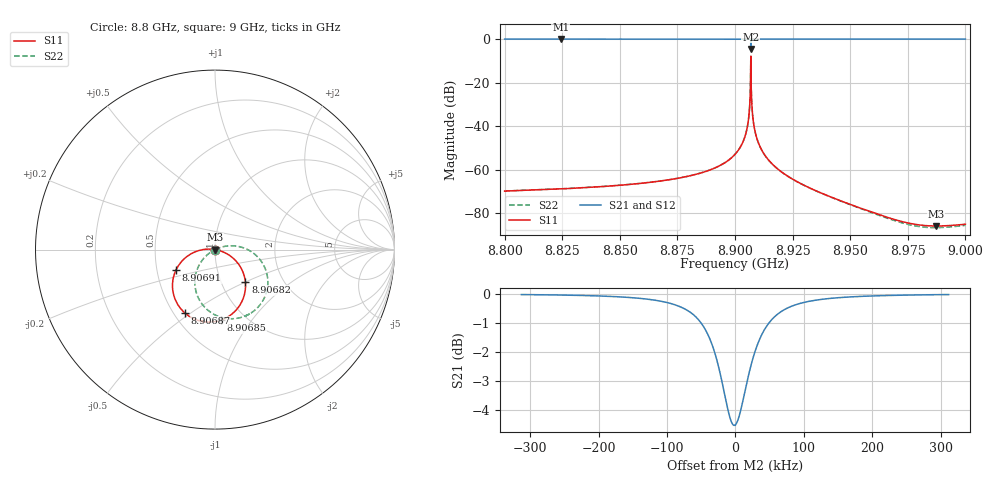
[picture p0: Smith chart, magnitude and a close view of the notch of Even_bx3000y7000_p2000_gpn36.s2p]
! Sonnet Data File
! From: emgraph Version : 16.52
! From Project: Resonator2_cp_cp
! Data is De-embedded
! Data File Written: 10/06/2017 09:20:31
!< HDATE 10/05/2017 21:11:40
!< MDATE 10/05/2017 21:11:40
!< PARAMS
!< gap = 36.0
!< Length = 400.0
!< Pwid1 = 2000.0
!< Pwid2 = 2000.0
!< END PARAMS
# GHZ S MA R 51.80000
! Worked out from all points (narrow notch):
!   1596 points, 8.8 GHz to 9 GHz, reference 51.8 ohm
!   highest |S21| = 0.00 dB at 8.8244 GHz (marker M1); lowest = -4.5 dB at 8.90686 GHz (marker M2)
!   notch at M2: 4.5 dB deep, 52.5 kHz wide at half that depth
!   lowest |S11| = -85.9 dB at 8.9872 GHz (marker M3), VSWR 1.00, Z = 51.8 + j0.00514 ohm
!   |S11| at or under -10 dB: start of sweep to 8.90683 GHz; 8.90689 GHz to end of sweep
!   |S22| runs from -86.7 to -7.8 dB; largest |S21 - S12| = 0
!   S11 on the Smith chart (normalised r, x): 8.8 GHz: 1.00, +0.00; 8.90682 GHz: 1.30, -0.50; 8.90685 GHz: 0.78, -0.72; 8.90687 GHz: 0.57, -0.47; 8.90691 GHz: 0.63, -0.15; 9 GHz: 1.00, +0.00
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8.8  0.0003203 1.1  1 -80.5  1 -80.5  0.000321 18.7
!< P1 F=8.8 Eeff=(6.44679989 -2.9721e-5) Z0=(51.7992624 1.19519e-4) R=0.0 C=0.0
!< P2 F=8.8 Eeff=(6.44679989 -2.9721e-5) Z0=(51.7992624 1.19519e-4) R=0.0 C=0.0
8.8244  0.0003595 -0.2  1 -80.7  1 -80.7  0.0003603 19.4
8.8334  0.0003802 -0.8  1 -80.8  1 -80.8  0.0003811 19.8
8.8668  0.0005383 -3.5  1 -81.1  1 -81.1  0.0005393 21.7
8.9  0.00224 -8.4  1 -81.5  1 -81.5  0.002241 25.1
8.905398  0.00983 -10.5  0.9998 -82.0  0.9998 -82.0  0.009832 24.9
8.906397  0.03047 -13.6  0.9982 -83.2  0.9982 -83.2  0.03047 22.2
8.906669  0.07206 -19.6  0.9898 -85.6  0.9898 -85.6  0.07207 16.3
8.906816  0.2477 -46.9  0.8719 -94.5  0.8719 -94.5  0.2477 -10.9
8.906851  0.3942 -85.1  0.6258 -90.5  0.6258 -90.5  0.3942 -49.1
8.906861  0.4072 -97.9  0.593 -82.5  0.593 -82.5  0.4073 -61.9
8.90687  0.3908 -115.6  0.6338 -71.6  0.6338 -71.6  0.3909 -79.5
8.906905  0.247 -152.1  0.8723 -68.5  0.8723 -68.5  0.247 -116.0
8.907008  0.09313 -176.3  0.9828 -76.2  0.9828 -76.2  0.09314 -140.2
8.907207  0.04049 176.2  0.9968 -79.2  0.9968 -79.2  0.0405 -147.7
8.90781  0.01471 172.4  0.9996 -80.6  0.9996 -80.6  0.01471 -151.2
8.911061  0.003184 170.0  1 -81.3  1 -81.3  0.003183 -152.2
8.9186  0.001025 167.7  1 -81.5  1 -81.5  0.001024 -150.7
8.9334  0.0003575 162.1  1 -81.7  1 -81.7  0.0003556 -146.0
8.9668  7.771e-05 129.2  1 -82.0  1 -82.0  7.394e-05 -114.9
8.9872  5.045e-05 79.8  1 -82.2  1 -82.2  4.621e-05 -62.5
9  5.542e-05 54.6  1 -82.3  1 -82.3  5.223e-05 -35.9
